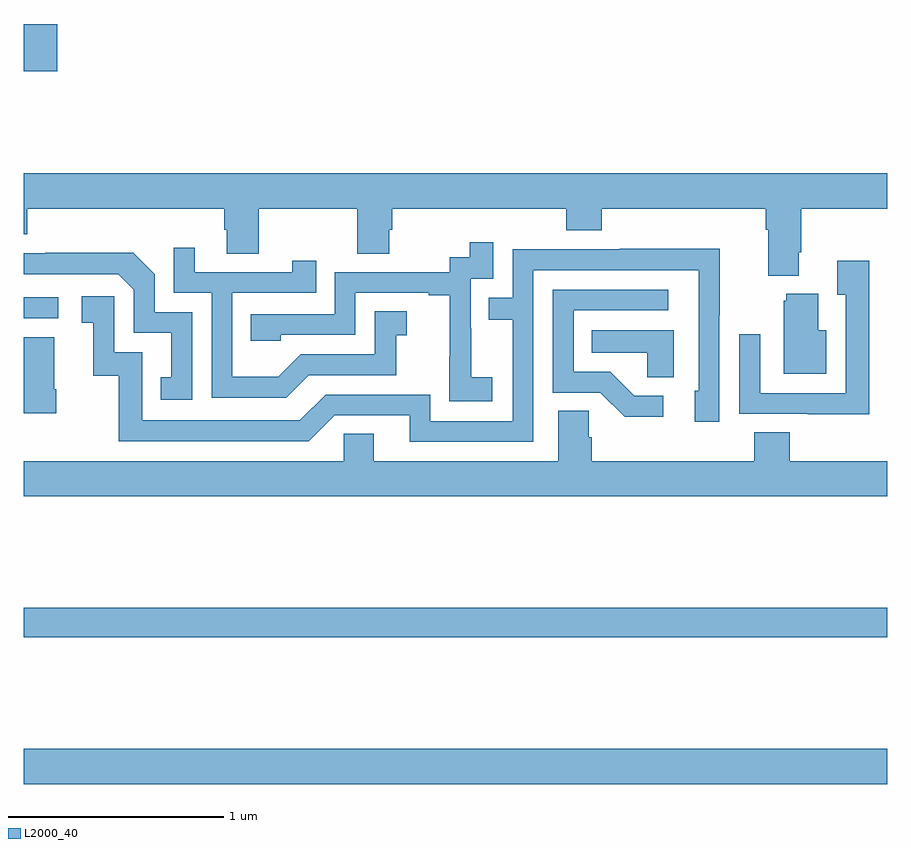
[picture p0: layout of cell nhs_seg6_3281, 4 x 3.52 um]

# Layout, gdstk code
import gdstk
lib = gdstk.Library(unit=1e-6, precision=1e-09)
def R(c, l, rs):  # rectangles x0, y0, x1, y1
    for r in rs: c.add(gdstk.rectangle(r[:2], r[2:], *l))
def P(c, l, *ps):  # polygons
    for p in ps: c.add(gdstk.Polygon(p, *l))
L2000_40 = (2000, 40)

nhs_seg6_3281 = lib.new_cell('nhs_seg6_3281')
R(nhs_seg6_3281, L2000_40, [(303,969.98,307,970.144), (303,970.66,307,970.796), (303,972.138,303.16,972.234), (303,973.281,303.155,973.5)])
P(nhs_seg6_3281, L2000_40, [(306.589,972.442),(306.602,972.442),(306.602,972.644),(307,972.644),(307,972.808),(303,972.808),(303,972.527),(303.017,972.527),(303.017,972.644),(303.929,972.644),(303.929,972.546),(303.941,972.546),(303.941,972.436),(304.089,972.436),(304.089,972.644),(304.546,972.644),(304.546,972.436),(304.693,972.436),(304.693,972.546),(304.706,972.546),(304.706,972.644),(305.513,972.644),(305.513,972.545),(305.678,972.545),(305.678,972.644),(306.437,972.644),(306.437,972.548),(306.449,972.548),(306.449,972.335),(306.589,972.335)],
  [(305.17,971.863),(305.072,971.863),(305.072,972.092),(305.07,972.092),(305.07,972.321),(305.175,972.321),(305.175,972.49),(305.067,972.49),(305.067,972.42),(304.974,972.42),(304.974,972.351),(304.44,972.351),(304.44,972.156),(304.051,972.156),(304.051,972.033),(304.191,972.033),(304.191,972.06),(304.536,972.06),(304.536,972.255),(304.877,972.255),(304.877,972.243),(304.973,972.243),(304.973,971.959),(304.972,971.959),(304.972,971.753),(305.17,971.753)],
  [(304.321,971.874),(304.725,971.874),(304.725,972.059),(304.774,972.059),(304.774,972.169),(304.626,972.169),(304.626,971.97),(304.284,971.97),(304.18,971.866),(303.966,971.866),(303.966,972.255),(304.355,972.255),(304.355,972.403),(304.244,972.403),(304.244,972.351),(303.793,972.351),(303.793,972.463),(303.696,972.463),(303.696,972.255),(303.87,972.255),(303.87,971.769),(304.216,971.769)],
  [(305.361,972.36),(306.126,972.36),(306.126,971.802),(306.107,971.802),(306.107,971.658),(306.222,971.658),(306.222,972.151),(306.225,972.151),(306.225,972.458),(305.761,972.458),(305.761,972.456),(305.265,972.456),(305.265,972.231),(305.155,972.231),(305.155,972.13),(305.265,972.13),(305.265,971.661),(304.884,971.661),(304.884,971.784),(304.398,971.784),(304.278,971.664),(303.549,971.664),(303.549,971.979),(303.42,971.979),(303.42,972.238),(303.27,972.238),(303.27,972.117),(303.323,972.117),(303.323,971.871),(303.441,971.871),(303.441,971.568),(304.32,971.568),(304.44,971.688),(304.787,971.688),(304.787,971.565),(305.361,971.565)],
  [(303.78,972.165),(303.606,972.165),(303.606,972.342),(303.508,972.44),(303.1,972.44),(303.1,972.438),(303,972.438),(303,972.342),(303.438,972.342),(303.51,972.27),(303.51,972.069),(303.683,972.069),(303.683,971.865),(303.634,971.865),(303.634,971.76),(303.78,971.76)],
  [(306.916,972.403),(306.767,972.403),(306.767,972.247),(306.807,972.247),(306.807,971.79),(306.411,971.79),(306.411,972.064),(306.315,972.064),(306.315,971.694),(306.631,971.694),(306.631,971.693),(306.916,971.693)],
  [(305.962,971.778),(305.827,971.778),(305.716,971.889),(305.547,971.889),(305.547,972.174),(305.986,972.174),(305.986,972.27),(305.451,972.27),(305.451,971.793),(305.67,971.793),(305.783,971.681),(305.962,971.681)],
  [(306.718,972.082),(306.679,972.082),(306.679,972.25),(306.533,972.25),(306.533,972.219),(306.521,972.219),(306.521,971.879),(306.718,971.879)],
  [(306.01,972.082),(305.632,972.082),(305.632,971.978),(305.889,971.978),(305.889,971.863),(306.01,971.863)],
  [(303.15,971.809),(303.142,971.809),(303.142,972.049),(303,972.049),(303,971.697),(303.15,971.697)],
  [(307,971.476),(306.548,971.476),(306.548,971.609),(306.383,971.609),(306.383,971.476),(305.63,971.476),(305.63,971.585),(305.616,971.585),(305.616,971.708),(305.477,971.708),(305.477,971.476),(304.621,971.476),(304.621,971.603),(304.482,971.603),(304.482,971.476),(303,971.476),(303,971.312),(307,971.312)])

lib.write_gds('nhs_seg6_3281.gds')
